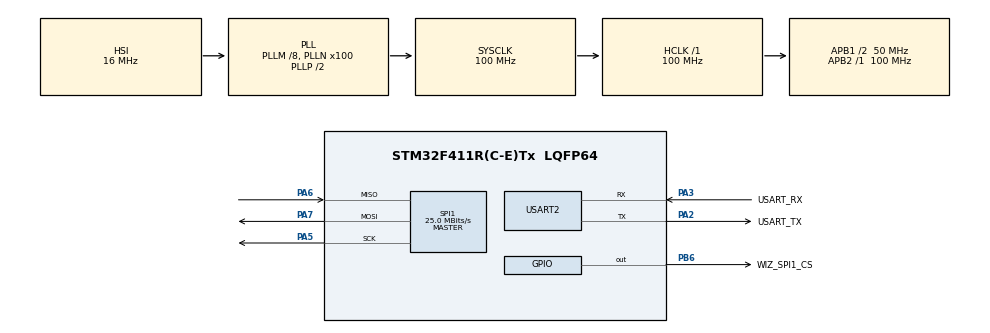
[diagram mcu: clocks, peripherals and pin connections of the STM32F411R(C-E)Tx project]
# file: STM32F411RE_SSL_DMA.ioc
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3rdParty.I-CUBE-CoreMark.0.1.0.ApplicationCcDeviceJjApplication=CoreMarkApp
3rdParty.I-CUBE-CoreMark.0.1.0.ITERATIONS=5000
3rdParty.I-CUBE-CoreMark.0.1.0.PRINTF_UART_PORT=huart2
3rdParty.I-CUBE-CoreMark.0.1.0.UtilityJjMISC=true
Dma.Request0=SPI1_RX
Dma.Request1=SPI1_TX
Dma.SPI1_RX.0.Direction=DMA_PERIPH_TO_MEMORY
Dma.SPI1_RX.0.FIFOMode=DMA_FIFOMODE_DISABLE
Dma.SPI1_RX.0.Instance=DMA2_Stream0
Dma.SPI1_RX.0.MemDataAlignment=DMA_MDATAALIGN_BYTE
Dma.SPI1_RX.0.MemInc=DMA_MINC_ENABLE
Dma.SPI1_RX.0.Mode=DMA_NORMAL
Dma.SPI1_RX.0.PeriphDataAlignment=DMA_PDATAALIGN_BYTE
Dma.SPI1_RX.0.PeriphInc=DMA_PINC_DISABLE
Dma.SPI1_RX.0.Priority=DMA_PRIORITY_LOW
Dma.SPI1_TX.1.Direction=DMA_MEMORY_TO_PERIPH
Dma.SPI1_TX.1.FIFOMode=DMA_FIFOMODE_DISABLE
Dma.SPI1_TX.1.Instance=DMA2_Stream2
Dma.SPI1_TX.1.MemDataAlignment=DMA_MDATAALIGN_BYTE
Dma.SPI1_TX.1.MemInc=DMA_MINC_ENABLE
Dma.SPI1_TX.1.Mode=DMA_NORMAL
Dma.SPI1_TX.1.PeriphDataAlignment=DMA_PDATAALIGN_BYTE
Dma.SPI1_TX.1.PeriphInc=DMA_PINC_DISABLE
Dma.SPI1_TX.1.Priority=DMA_PRIORITY_LOW
FREERTOS.BinarySemaphores01=coremark_start_sem,Dynamic,NULL
FREERTOS.Tasks01=mainTask,24,8192,StartMainTask,Default,NULL,Dynamic,NULL,NULL;coremarkTask,8,4096,StartCoremarkTask,Default,NULL,Dynamic,NULL,NULL
FREERTOS.configTOTAL_HEAP_SIZE=112640
MBEDTLS.MBEDTLS_DEBUG_C=1
MBEDTLS.MBEDTLS_DHM_C=1
MBEDTLS.MBEDTLS_ECJPAKE_C=1
MBEDTLS.MBEDTLS_ECP_FIXED_POINT_OPTIM_ENABLE=1
MBEDTLS.MBEDTLS_ECP_MAX_BITS_ENABLE=1
MBEDTLS.MBEDTLS_ECP_WINDOW_SIZE_ENABLE=1
MBEDTLS.MBEDTLS_ENTROPY_MAX_SOURCES=2
MBEDTLS.MBEDTLS_HAVE_TIME=0
MBEDTLS.MBEDTLS_KEY_EXCHANGE_DHE_PSK_ENABLED=1
MBEDTLS.MBEDTLS_KEY_EXCHANGE_DHE_RSA_ENABLED=1
MBEDTLS.MBEDTLS_KEY_EXCHANGE_ECDHE_PSK_ENABLED=1
MBEDTLS.MBEDTLS_KEY_EXCHANGE_ECDHE_RSA_ENABLED=1
MBEDTLS.MBEDTLS_KEY_EXCHANGE_ECDH_ECDSA_ENABLED=1
MBEDTLS.MBEDTLS_KEY_EXCHANGE_ECDH_RSA_ENABLED=1
MBEDTLS.MBEDTLS_KEY_EXCHANGE_ECJPAKE_ENABLED=1
MBEDTLS.MBEDTLS_KEY_EXCHANGE_PSK_ENABLED=1
MBEDTLS.MBEDTLS_KEY_EXCHANGE_RSA_ENABLED=1
MBEDTLS.MBEDTLS_KEY_EXCHANGE_RSA_PSK_ENABLED=1
MBEDTLS.MBEDTLS_MD5_C=1
MBEDTLS.MBEDTLS_MPI_MAX_SIZE_ENABLE=0
MBEDTLS.MBEDTLS_MPI_WINDOW_SIZE=256
MBEDTLS.MBEDTLS_MPI_WINDOW_SIZE_ENABLE=1
MBEDTLS.MBEDTLS_PKCS1_V15=1
MBEDTLS.MBEDTLS_PLATFORM_MEMORY=1
MBEDTLS.MBEDTLS_RNG_IP=SW_RNG
MBEDTLS.MBEDTLS_RSA_C=1
MBEDTLS.MBEDTLS_RSA_NO_CRT=0
MBEDTLS.MBEDTLS_SSL_CIPHERSUITES=MBEDTLS_TLS_ECDHE_ECDSA_WITH_AES_256_GCM_SHA384,MBEDTLS_TLS_ECDHE_ECDSA_WITH_AES_128_GCM_SHA256,MBEDTLS_TLS_ECDHE_RSA_WITH_AES_128_GCM_SHA256
MBEDTLS.MBEDTLS_SSL_CLI_C=1
MBEDTLS.MBEDTLS_SSL_MAX_CONTENT_LEN=4096
MBEDTLS.MBEDTLS_SSL_MAX_CONTENT_LEN_ENABLE=1
MBEDTLS.MBEDTLS_SSL_SRV_C=1
MBEDTLS.MBEDTLS_TCP_IP=1
Mcu.Family=STM32F4
Mcu.Name=STM32F411R(C-E)Tx
Mcu.Package=LQFP64
NVIC.DMA2_Stream0_IRQn=true\:5\:0\:false\:false\:true\:true\:false\:true\:true
NVIC.DMA2_Stream2_IRQn=true\:5\:0\:false\:false\:true\:true\:false\:true\:true
NVIC.PriorityGroup=NVIC_PRIORITYGROUP_4
NVIC.TIM4_IRQn=true\:15\:0\:false\:false\:true\:false\:false\:true\:true
NVIC.TimeBase=TIM4_IRQn
NVIC.TimeBaseIP=TIM4
PA13.GPIO_Label=TMS
PA13.Mode=Serial_Wire
PA13.Signal=SYS_JTMS-SWDIO
PA14.GPIO_Label=TCK
PA14.Mode=Serial_Wire
PA14.Signal=SYS_JTCK-SWCLK
PA2.GPIO_Label=USART_TX
PA2.Mode=Asynchronous
PA2.Signal=USART2_TX
PA3.GPIO_Label=USART_RX
PA3.Mode=Asynchronous
PA3.Signal=USART2_RX
PA5.Mode=Full_Duplex_Master
PA5.Signal=SPI1_SCK
PA6.Mode=Full_Duplex_Master
PA6.Signal=SPI1_MISO
PA7.Mode=Full_Duplex_Master
PA7.Signal=SPI1_MOSI
PB3.GPIO_Label=SWO
PB3.Signal=SYS_JTDO-SWO
PB6.GPIO_Label=WIZ_SPI1_CS
PB6.Signal=GPIO_Output
PC14-OSC32_IN.Mode=LSE-External-Oscillator
PC14-OSC32_IN.Signal=RCC_OSC32_IN
PC15-OSC32_OUT.Mode=LSE-External-Oscillator
PC15-OSC32_OUT.Signal=RCC_OSC32_OUT
PH0\ -\ OSC_IN.Mode=HSE-External-Clock-Source
PH0\ -\ OSC_IN.Signal=RCC_OSC_IN
PH1\ -\ OSC_OUT.Mode=HSE-External-Clock-Source
PH1\ -\ OSC_OUT.Signal=RCC_OSC_OUT
ProjectManager.HeapSize=0x200
ProjectManager.StackSize=0x400
ProjectManager.TargetToolchain=MDK-ARM V5.32
RCC.48MHZClocksFreq_Value=50000000
RCC.AHBFreq_Value=100000000
RCC.APB1CLKDivider=RCC_HCLK_DIV2
RCC.APB1Freq_Value=50000000
RCC.APB1TimFreq_Value=100000000
RCC.APB2Freq_Value=100000000
RCC.APB2TimFreq_Value=100000000
RCC.CortexFreq_Value=100000000
RCC.FLatency-AdvancedSettings=FLASH_LATENCY_3
RCC.HCLKFreq_Value=100000000
RCC.HSE_VALUE=8000000
RCC.HSI_VALUE=16000000
RCC.PLLM=8
RCC.PLLN=100
RCC.SYSCLKFreq_VALUE=100000000
RCC.SYSCLKSource=RCC_SYSCLKSOURCE_PLLCLK
RCC.VCOOutputFreq_Value=200000000
SPI1.BaudRatePrescaler=SPI_BAUDRATEPRESCALER_4
SPI1.CalculateBaudRate=25.0 MBits/s
SPI1.Direction=SPI_DIRECTION_2LINES
SPI1.Mode=SPI_MODE_MASTER
SPI1.VirtualType=VM_MASTER
USART2.VirtualMode=VM_ASYNC
VP_3rdParty.I-CUBE-CoreMark_VS_DeviceJjApplication_0.1.0_0.1.0.Mode=DeviceJjApplication
VP_3rdParty.I-CUBE-CoreMark_VS_UtilityJjMISC_0.1.0_0.1.0.Mode=UtilityJjMISC
VP_FREERTOS_VS_CMSIS_V2.Mode=CMSIS_V2
VP_MBEDTLS_VS_MBEDTLS.Mode=Enabled
VP_SYS_VS_tim4.Mode=TIM4
board=NUCLEO-F411RE

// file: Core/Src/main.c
/* USER CODE BEGIN Header */
/**
  ******************************************************************************
  * @file           : main.c
  * @brief          : Main program body
  ******************************************************************************
  * @attention
  *
  * Copyright (c) 2023 STMicroelectronics.
  * All rights reserved.
  *
  * This software is licensed under terms that can be found in the LICENSE file
  * in the root directory of this software component.
  * If no LICENSE file comes with this software, it is provided AS-IS.
  *
  ******************************************************************************
  */
/* USER CODE END Header */
#include "main.h"
#include "cmsis_os.h"
#include "app_coremarkapp.h"
#include "mbedtls.h"

/* USER CODE BEGIN Includes */
#include "mbedtls/platform.h"
#include "w5x00_spi.h"
#include "w5x00_tcp_client_over_ssl.h"
/* USER CODE END Includes */

/* USER CODE BEGIN PD */
/* Buffer */
#define BUFFERSIZE 2048

/* Socket */
#define SOCKET_SSL 0

/* Port */
#define PORT_SSL 443
/* USER CODE END PD */

SPI_HandleTypeDef hspi1;
DMA_HandleTypeDef hdma_spi1_rx;
DMA_HandleTypeDef hdma_spi1_tx;

UART_HandleTypeDef huart2;

/* Definitions for mainTask */
osThreadId_t mainTaskHandle;
const osThreadAttr_t mainTask_attributes = {
  .name = "mainTask",
  .stack_size = 8192 * 4,
  .priority = (osPriority_t) osPriorityNormal,
};
/* Definitions for coremarkTask */
osThreadId_t coremarkTaskHandle;
const osThreadAttr_t coremarkTask_attributes = {
  .name = "coremarkTask",
  .stack_size = 4096 * 4,
  .priority = (osPriority_t) osPriorityLow,
};
/* Definitions for coremark_start_sem */
osSemaphoreId_t coremark_start_semHandle;
const osSemaphoreAttr_t coremark_start_sem_attributes = {
  .name = "coremark_start_sem"
};
/* USER CODE BEGIN PV */
extern mbedtls_ssl_context ssl;
uint8_t ssl_target_ip[4] = {192, 168, 0, 2};
uint8_t aTxBuffer[BUFFERSIZE];
static uint64_t send_cnt = 0;
/* USER CODE END PV */

void SystemClock_Config(void);
static void MX_GPIO_Init(void);
static void MX_DMA_Init(void);
static void MX_USART2_UART_Init(void);
static void MX_SPI1_Init(void);
void StartMainTask(void *argument);
void StartCoremarkTask(void *argument);

/* USER CODE BEGIN 0 */
void *pvPortCalloc( size_t sNb, size_t sSize )
{
    void *vPtr = NULL;
    if (sSize > 0) {
        vPtr = pvPortMalloc(sSize * sNb); // Call FreeRTOS or other standard API
        if(vPtr)
           memset(vPtr, 0, (sSize * sNb)); // Must required
    }
    return vPtr;
}

void pvPortFree( void *vPtr )
{
    if (vPtr) {
        vPortFree(vPtr); // Call FreeRTOS or other standard API
    }
}
/* USER CODE END 0 */

int main(void)
{

  /* MCU Configuration--------------------------------------------------------*/

  /* Reset of all peripherals, Initializes the Flash interface and the Systick. */
  HAL_Init();

  /* Configure the system clock */
  SystemClock_Config();

  /* Initialize all configured peripherals */
  MX_GPIO_Init();
  MX_DMA_Init();
  MX_USART2_UART_Init();
  MX_SPI1_Init();
  //MX_MBEDTLS_Init();
  //MX_CoreMarkApp_Init();
  /* Call PreOsInit function */
  //MX_MBEDTLS_Init();

  /* Init scheduler */
  osKernelInitialize();

  /* Create the semaphores(s) */
  /* creation of coremark_start_sem */
  coremark_start_semHandle = osSemaphoreNew(1, 0, &coremark_start_sem_attributes);

  /* Create the thread(s) */
  /* creation of mainTask */
  mainTaskHandle = osThreadNew(StartMainTask, NULL, &mainTask_attributes);

  /* creation of coremarkTask */
  coremarkTaskHandle = osThreadNew(StartCoremarkTask, NULL, &coremarkTask_attributes);

  /* Start scheduler */
  osKernelStart();

  /* We should never get here as control is now taken by the scheduler */
  /* Infinite loop */
  while (1)
  {

  }
}

void SystemClock_Config(void)
{
  RCC_OscInitTypeDef RCC_OscInitStruct = {0};
  RCC_ClkInitTypeDef RCC_ClkInitStruct = {0};

  /** Configure the main internal regulator output voltage
  */
  __HAL_RCC_PWR_CLK_ENABLE();
  __HAL_PWR_VOLTAGESCALING_CONFIG(PWR_REGULATOR_VOLTAGE_SCALE1);

  /** Initializes the RCC Oscillators according to the specified parameters
  * in the RCC_OscInitTypeDef structure.
  */
  RCC_OscInitStruct.OscillatorType = RCC_OSCILLATORTYPE_HSI;
  RCC_OscInitStruct.HSIState = RCC_HSI_ON;
  RCC_OscInitStruct.HSICalibrationValue = RCC_HSICALIBRATION_DEFAULT;
  RCC_OscInitStruct.PLL.PLLState = RCC_PLL_ON;
  RCC_OscInitStruct.PLL.PLLSource = RCC_PLLSOURCE_HSI;
  RCC_OscInitStruct.PLL.PLLM = 8;
  RCC_OscInitStruct.PLL.PLLN = 100;
  RCC_OscInitStruct.PLL.PLLP = RCC_PLLP_DIV2;
  RCC_OscInitStruct.PLL.PLLQ = 4;
  if (HAL_RCC_OscConfig(&RCC_OscInitStruct) != HAL_OK)
  {
    Error_Handler();
  }

  /** Initializes the CPU, AHB and APB buses clocks
  */
  RCC_ClkInitStruct.ClockType = RCC_CLOCKTYPE_HCLK|RCC_CLOCKTYPE_SYSCLK
                              |RCC_CLOCKTYPE_PCLK1|RCC_CLOCKTYPE_PCLK2;
  RCC_ClkInitStruct.SYSCLKSource = RCC_SYSCLKSOURCE_PLLCLK;
  RCC_ClkInitStruct.AHBCLKDivider = RCC_SYSCLK_DIV1;
  RCC_ClkInitStruct.APB1CLKDivider = RCC_HCLK_DIV2;
  RCC_ClkInitStruct.APB2CLKDivider = RCC_HCLK_DIV1;

  if (HAL_RCC_ClockConfig(&RCC_ClkInitStruct, FLASH_LATENCY_3) != HAL_OK)
  {
    Error_Handler();
  }
}

static void MX_SPI1_Init(void)
{

  /* SPI1 parameter configuration*/
  hspi1.Instance = SPI1;
  hspi1.Init.Mode = SPI_MODE_MASTER;
  hspi1.Init.Direction = SPI_DIRECTION_2LINES;
  hspi1.Init.DataSize = SPI_DATASIZE_8BIT;
  hspi1.Init.CLKPolarity = SPI_POLARITY_LOW;
  hspi1.Init.CLKPhase = SPI_PHASE_1EDGE;
  hspi1.Init.NSS = SPI_NSS_SOFT;
  hspi1.Init.BaudRatePrescaler = SPI_BAUDRATEPRESCALER_4;
  hspi1.Init.FirstBit = SPI_FIRSTBIT_MSB;
  hspi1.Init.TIMode = SPI_TIMODE_DISABLE;
  hspi1.Init.CRCCalculation = SPI_CRCCALCULATION_DISABLE;
  hspi1.Init.CRCPolynomial = 10;
  if (HAL_SPI_Init(&hspi1) != HAL_OK)
  {
    Error_Handler();
  }

}

static void MX_USART2_UART_Init(void)
{

  huart2.Instance = USART2;
  huart2.Init.BaudRate = 115200;
  huart2.Init.WordLength = UART_WORDLENGTH_8B;
  huart2.Init.StopBits = UART_STOPBITS_1;
  huart2.Init.Parity = UART_PARITY_NONE;
  huart2.Init.Mode = UART_MODE_TX_RX;
  huart2.Init.HwFlowCtl = UART_HWCONTROL_NONE;
  huart2.Init.OverSampling = UART_OVERSAMPLING_16;
  if (HAL_UART_Init(&huart2) != HAL_OK)
  {
    Error_Handler();
  }

}

static void MX_DMA_Init(void)
{

  /* DMA controller clock enable */
  __HAL_RCC_DMA2_CLK_ENABLE();

  /* DMA interrupt init */
  /* DMA2_Stream0_IRQn interrupt configuration */
  HAL_NVIC_SetPriority(DMA2_Stream0_IRQn, 5, 0);
  HAL_NVIC_EnableIRQ(DMA2_Stream0_IRQn);
  /* DMA2_Stream2_IRQn interrupt configuration */
  HAL_NVIC_SetPriority(DMA2_Stream2_IRQn, 5, 0);
  HAL_NVIC_EnableIRQ(DMA2_Stream2_IRQn);

}

static void MX_GPIO_Init(void)
{
  GPIO_InitTypeDef GPIO_InitStruct = {0};

  /* GPIO Ports Clock Enable */
  __HAL_RCC_GPIOC_CLK_ENABLE();
  __HAL_RCC_GPIOH_CLK_ENABLE();
  __HAL_RCC_GPIOA_CLK_ENABLE();
  __HAL_RCC_GPIOB_CLK_ENABLE();

  /*Configure GPIO pin Output Level */
  HAL_GPIO_WritePin(WIZ_SPI1_CS_GPIO_Port, WIZ_SPI1_CS_Pin, GPIO_PIN_RESET);

  /*Configure GPIO pin : WIZ_SPI1_CS_Pin */
  GPIO_InitStruct.Pin = WIZ_SPI1_CS_Pin;
  GPIO_InitStruct.Mode = GPIO_MODE_OUTPUT_PP;
  GPIO_InitStruct.Pull = GPIO_NOPULL;
  GPIO_InitStruct.Speed = GPIO_SPEED_FREQ_LOW;
  HAL_GPIO_Init(WIZ_SPI1_CS_GPIO_Port, &GPIO_InitStruct);

}

void StartMainTask(void *argument)
{
  /* USER CODE BEGIN 5 */
	int ret = 0;
	uint8_t client_socket = (uint8_t)ssl.p_bio;
	const int *list = NULL;
	uint16_t i = 0;
	uint32_t task_time_ms = 0;

	aTxBuffer[0] = 0x30;

	for(i = 0; i < BUFFERSIZE - 1; i++)
	{
		if(aTxBuffer[i] != 0x39)
			aTxBuffer[i+1] = aTxBuffer[i] + 1;
		else
			aTxBuffer[i+1] = 0x30;
	}

		printf("Start WIZ Chip Initialized...\n");

	if(!WIZ_ChipInit())
	{
		printf("WIZ_ChipInit failed.\n");
	}

	printf("Start Network Initialized...\n");
	if(!WIZ_NetworkInit())
	{
		printf("WIZ_NetworkInit failed.\n");
	}

	printf("Initialized finished...\n");

	ret = mbedtls_platform_set_calloc_free(pvPortCalloc, pvPortFree);
	printf("mbedtls platform set calloc/free.\n");

	ret = wizchip_ssl_init(SOCKET_SSL);
	if (ret < 0)
	{
			printf(" SSL initialize failed %d\n", ret);
			while(1){};
	}

	/* Get ciphersuite information */
	printf(" Supported ciphersuite lists\n");

	list = mbedtls_ssl_list_ciphersuites();

	while (*list)
	{
			printf(" %-42s\n", mbedtls_ssl_get_ciphersuite_name(*list));
			list++;

			if (!*list)
			{
					break;
			}

			printf(" %s\n", mbedtls_ssl_get_ciphersuite_name(*list));
			list++;
	}

  /* Infinite loop */
  for(;;)
  {
		ret = socket(client_socket, Sn_MR_TCP, PORT_SSL, SF_TCP_NODELAY);

		if (ret < 0) {
			printf("socket failed{%d}.\n", ret);
			close(client_socket);
			osDelay(500);
			continue;
		}
		else {
			printf("socket success...\n");
		}

		while(getSn_SR(client_socket) != SOCK_INIT);

		ret = connect(client_socket, ssl_target_ip, PORT_SSL);
		if (ret < 0) {
			printf("connect failed{%d}.Sn_SR()={%d}\n", ret, getSn_SR(client_socket));
			close(client_socket);
			osDelay(500);
			continue;
		}
		else {
			printf("connect success...\n");
		}

		while((ret = mbedtls_ssl_handshake(&ssl)) != 0)
    {
			if((ret != MBEDTLS_ERR_SSL_WANT_READ) && (ret != MBEDTLS_ERR_SSL_WANT_WRITE))
			{
				printf(" failed\n  ! mbedtls_ssl_handshake returned -0x%x\n", -ret);
				while (1){};
			}
    }
		printf(" ok\n    [ Ciphersuite is %s ]\n", mbedtls_ssl_get_ciphersuite(&ssl));

		osSemaphoreRelease(coremark_start_semHandle);

		while(1)
		{
				ret = mbedtls_ssl_write(&ssl, aTxBuffer, BUFFERSIZE);
				if(ret == BUFFERSIZE)
					send_cnt++;
				osDelay(10);
		}
  }
  /* USER CODE END 5 */
}

void StartCoremarkTask(void *argument)
{
  /* USER CODE BEGIN StartCoremarkTask */
	osSemaphoreAcquire(coremark_start_semHandle, osWaitForever);
	MX_CoreMarkApp_Init();
	printf("send cnt : %llu\n", send_cnt);
  /* Infinite loop */
  for(;;)
  {
    osDelay(1);
  }
  /* USER CODE END StartCoremarkTask */
}

void HAL_TIM_PeriodElapsedCallback(TIM_HandleTypeDef *htim)
{
  if (htim->Instance == TIM4) {
    HAL_IncTick();
		repeating_timer_callback();
  }
}

void Error_Handler(void)
{
  __disable_irq();
  while (1)
  {
  }
}
